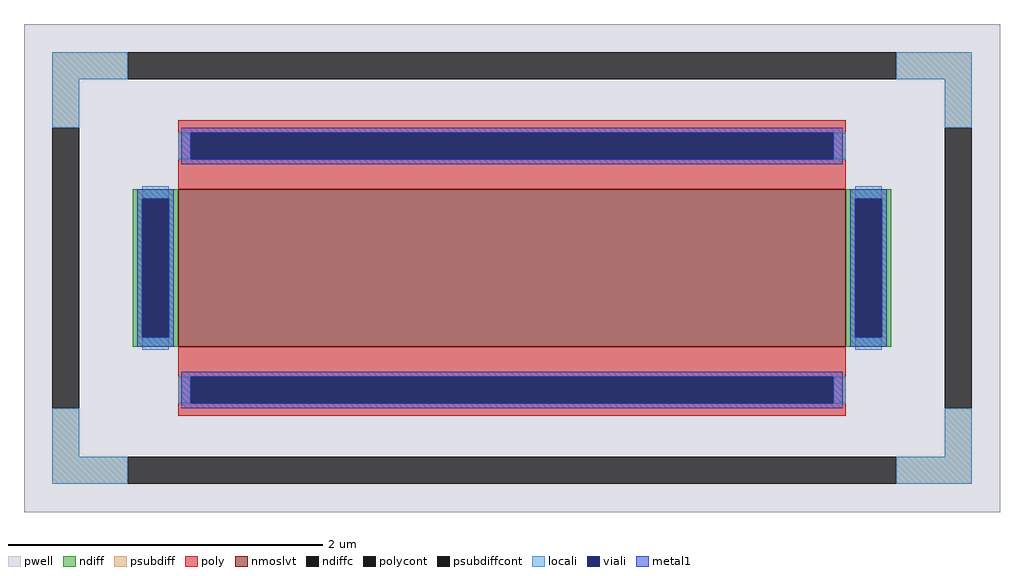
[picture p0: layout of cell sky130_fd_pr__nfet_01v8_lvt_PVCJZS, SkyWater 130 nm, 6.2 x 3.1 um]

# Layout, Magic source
magic
tech sky130A
<< pwell >>
rect -310 -155 310 155
<< nmoslvt >>
rect -212 -50 212 50
<< ndiff >>
rect -241 44 -212 50
rect -241 -44 -235 44
rect -218 -44 -212 44
rect -241 -50 -212 -44
rect 212 44 241 50
rect 212 -44 218 44
rect 235 -44 241 44
rect 212 -50 241 -44
<< ndiffc >>
rect -235 -44 -218 44
rect 218 -44 235 44
<< psubdiff >>
rect -292 120 -244 137
rect 244 120 292 137
rect -292 89 -275 120
rect 275 89 292 120
rect -292 -120 -275 -89
rect 275 -120 292 -89
rect -292 -137 -244 -120
rect 244 -137 292 -120
<< psubdiffcont >>
rect -244 120 244 137
rect -292 -89 -275 89
rect 275 -89 292 89
rect -244 -137 244 -120
<< poly >>
rect -212 86 212 94
rect -212 69 -204 86
rect 204 69 212 86
rect -212 50 212 69
rect -212 -69 212 -50
rect -212 -86 -204 -69
rect 204 -86 212 -69
rect -212 -94 212 -86
<< polycont >>
rect -204 69 204 86
rect -204 -86 204 -69
<< locali >>
rect -292 120 -244 137
rect 244 120 292 137
rect -292 89 -275 120
rect 275 89 292 120
rect -212 69 -204 86
rect 204 69 212 86
rect -235 44 -218 52
rect -235 -52 -218 -44
rect 218 44 235 52
rect 218 -52 235 -44
rect -212 -86 -204 -69
rect 204 -86 212 -69
rect -292 -120 -275 -89
rect 275 -120 292 -89
rect -292 -137 -244 -120
rect 244 -137 292 -120
<< viali >>
rect -204 69 204 86
rect -235 -44 -218 44
rect 218 -44 235 44
rect -204 -86 204 -69
<< metal1 >>
rect -210 86 210 89
rect -210 69 -204 86
rect 204 69 210 86
rect -210 66 210 69
rect -238 44 -215 50
rect -238 -44 -235 44
rect -218 -44 -215 44
rect -238 -50 -215 -44
rect 215 44 238 50
rect 215 -44 218 44
rect 235 -44 238 44
rect 215 -50 238 -44
rect -210 -69 210 -66
rect -210 -86 -204 -69
rect 204 -86 210 -69
rect -210 -89 210 -86
<< properties >>
string FIXED_BBOX -283 -128 283 128
string gencell sky130_fd_pr__nfet_01v8_lvt
string library sky130
string parameters w 1.0 l 4.24 m 1 nf 1 diffcov 100 polycov 100 guard 1 glc 1 grc 1 gtc 1 gbc 1 tbcov 100 rlcov 100 topc 1 botc 1 poverlap 0 doverlap 1 lmin 0.15 wmin 0.42 compatible {sky130_fd_pr__nfet_01v8 sky130_fd_pr__nfet_01v8_lvt  sky130_fd_bs_flash__special_sonosfet_star  sky130_fd_pr__nfet_g5v0d10v5 sky130_fd_pr__nfet_05v0_nvt  sky130_fd_pr__nfet_03v3_nvt} full_metal 1 viasrc 100 viadrn 100 viagate 100 viagb 0 viagr 0 viagl 0 viagt 0
<< end >>
